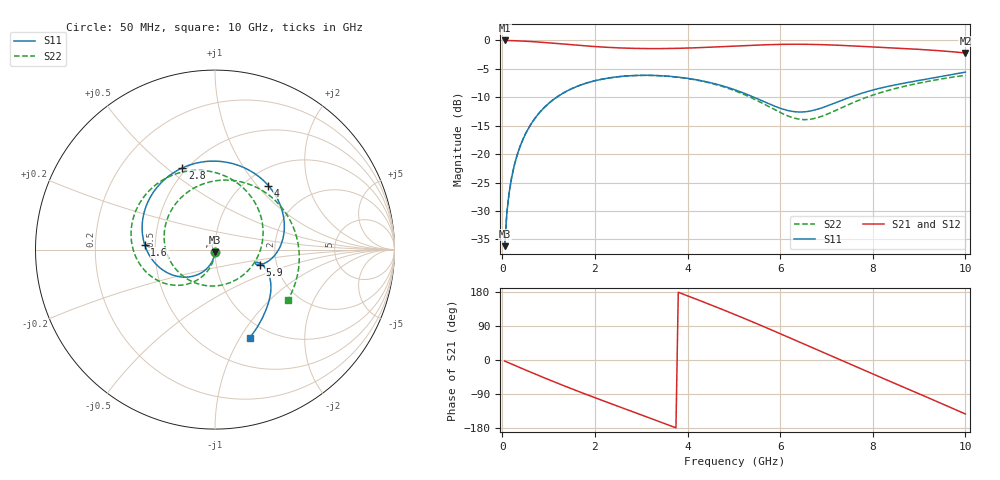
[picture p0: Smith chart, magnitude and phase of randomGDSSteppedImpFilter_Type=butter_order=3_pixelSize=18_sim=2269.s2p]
! freq	dB(S11)	phase(S11)	dB(S12)	phase(S12)
!  dB(S21)	phase(S21)	dB(S22)	phase(S22)
!S-par simulation data
#  GHz  S  DB  R 50
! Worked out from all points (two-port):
!   200 points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, 50 MHz to 10 GHz, reference 50 ohm
!   highest |S21| = 0.00 dB at 50 MHz (marker M1); lowest = -2.2 dB at 10 GHz (marker M2)
!   |S21| within 3 dB of the highest: start of sweep to end of sweep
!   lowest |S11| = -36.2 dB at 50 MHz (marker M3), VSWR 1.03, Z = 49.9 - j1.55 ohm
!   |S11| at or under -10 dB: start of sweep to 1.172 GHz; 5.435 GHz to 7.504 GHz (2.069 GHz wide, 32 % of centre)
!   |S22| runs from -36.2 to -6.1 dB; largest |S21 - S12| = 0
!   S11 on the Smith chart (normalised r, x): 50 MHz: 1.00, -0.03; 1.6 GHz: 0.44, +0.03; 2.8 GHz: 0.47, +0.57; 4 GHz: 1.26, +1.15; 5.9 GHz: 1.63, -0.29; 10 GHz: 0.81, -1.10
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0.05  -36.18 -92.9  -0.00 -2.7  -0.00 -2.7  -36.18 -92.2
0.1  -30.17 -96.2  -0.01 -5.3  -0.01 -5.3  -30.17 -94.6
0.2  -24.20 -102.4  -0.03 -10.6  -0.03 -10.6  -24.19 -99.3
0.45  -17.33 -117.6  -0.12 -23.7  -0.12 -23.7  -17.32 -110.8
1.05  -10.74 -152.8  -0.45 -54.2  -0.45 -54.2  -10.73 -136.8
1.6  -8.13 176.3  -0.83 -80.8  -0.83 -80.8  -8.12 -159.1
1.75  -7.68 168.0  -0.93 -87.8  -0.93 -87.8  -7.67 -165.0
2.8  -6.19 111.8  -1.39 -135.8  -1.39 -135.8  -6.19 155.5
3.4  -6.20 80.5  -1.43 -162.9  -1.43 -162.9  -6.21 132.8
4  -6.67 50.1  -1.34 169.4  -1.34 169.4  -6.70 108.4
4.5  -7.44 26.2  -1.19 145.6  -1.19 145.6  -7.52 85.6
5.05  -8.76 3.0  -0.98 118.6  -0.98 118.6  -8.93 56.1
5.5  -10.23 -11.4  -0.81 95.7  -0.81 95.7  -10.56 26.2
5.9  -11.62 -18.5  -0.71 74.8  -0.71 74.8  -12.26 -7.2
6.7  -12.33 -16.9  -0.70 32.1  -0.70 32.1  -13.80 -96.8
7.1  -11.26 -17.7  -0.80 10.7  -0.80 10.7  -12.67 -141.6
7.5  -10.01 -22.6  -0.94 -10.5  -0.94 -10.5  -11.20 179.4
7.9  -8.95 -29.9  -1.10 -31.5  -1.10 -31.5  -9.90 144.2
8.35  -8.04 -38.8  -1.29 -55.1  -1.29 -55.1  -8.75 106.3
9.05  -6.97 -51.9  -1.60 -91.9  -1.60 -91.9  -7.42 47.2
9.55  -6.24 -60.5  -1.88 -118.4  -1.88 -118.4  -6.67 4.3
10  -5.57 -68.5  -2.21 -142.4  -2.21 -142.4  -6.14 -34.4
